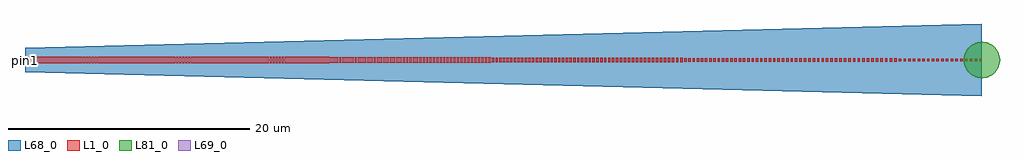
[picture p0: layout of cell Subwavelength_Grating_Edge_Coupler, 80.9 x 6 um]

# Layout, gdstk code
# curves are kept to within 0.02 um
import gdstk
lib = gdstk.Library(unit=1e-6, precision=1e-09)
def R(c, l, rs):  # rectangles x0, y0, x1, y1
    for r in rs: c.add(gdstk.rectangle(r[:2], r[2:], *l))
def A(c, l, x, y, w, h, nx, ny, dx, dy):  # array of equal rectangles
    R(c, l, [(x+i*dx, y+j*dy, x+i*dx+w, y+j*dy+h) for i in range(nx) for j in range(ny)])
def P(c, l, *ps):  # polygons
    for p in ps: c.add(gdstk.Polygon(p, *l))
L1_0 = (1, 0)
L68_0 = (68, 0)
L69_0 = (69, 0)
L81_0 = (81, 0)

opticalfibre_3micron = lib.new_cell('OpticalFibre_3micron')
P(opticalfibre_3micron, L81_0, [(-0.074,-1.5),(-0.365,-1.457),(-0.642,-1.358),(-0.895,-1.206),(-1.113,-1.009),(-1.288,-0.772),(-1.414,-0.506),(-1.486,-0.22),(-1.5,0.074),(-1.457,0.365),(-1.358,0.642),(-1.206,0.895),(-1.009,1.113),(-0.772,1.288),(-0.506,1.414),(-0.22,1.486),(0.074,1.5),(0.365,1.457),(0.642,1.358),(0.895,1.206),(1.113,1.009),(1.288,0.772),(1.414,0.506),(1.486,0.22),(1.5,-0.074),(1.457,-0.365),(1.358,-0.642),(1.206,-0.895),(1.009,-1.113),(0.772,-1.288),(0.506,-1.414),(0.22,-1.486)])

c_ec = lib.new_cell('EC')
A(c_ec, L1_0, -79.3, -0.25, 0.2, 0.5, 100, 1, 0.25, 0)
R(c_ec, L1_0, [(-79.3,-0.25,-79.05,0.25), (-54.299,-0.249,-54.099,0.249), (-79.05,-0.248,-78.8,0.248), (-54.047,-0.248,-53.847,0.248), (-53.795,-0.247,-53.595,0.247), (-53.541,-0.247,-53.341,0.247), (-78.8,-0.246,-78.55,0.246), (-53.286,-0.246,-53.087,0.246), (-53.031,-0.245,-52.831,0.245), (-78.55,-0.244,-78.3,0.244), (-52.775,-0.244,-52.575,0.244), (-52.518,-0.243,-52.318,0.243), (-78.3,-0.242,-78.05,0.242), (-52.259,-0.242,-52.06,0.242), (-52,-0.242,-51.801,0.242), (-51.741,-0.241,-51.541,0.241), (-78.05,-0.24,-77.8,0.24), (-51.48,-0.24,-51.28,0.24), (-51.218,-0.239,-51.018,0.239), (-50.956,-0.238,-50.756,0.238), (-77.8,-0.237,-77.55,0.237), (-50.692,-0.237,-50.492,0.237), (-50.428,-0.237,-50.228,0.237), (-50.162,-0.236,-49.963,0.236), (-77.55,-0.235,-77.3,0.235), (-49.896,-0.235,-49.696,0.235), (-49.629,-0.234,-49.429,0.234), (-77.3,-0.233,-77.05,0.233), (-49.361,-0.233,-49.161,0.233), (-49.092,-0.232,-48.893,0.232), (-48.822,-0.232,-48.623,0.232), (-77.05,-0.231,-76.8,0.231), (-48.552,-0.231,-48.352,0.231), (-48.28,-0.23,-48.081,0.23), (-76.8,-0.229,-76.55,0.229), (-48.008,-0.229,-47.808,0.229), (-47.734,-0.228,-47.535,0.228), (-76.55,-0.227,-76.3,0.227), (-47.46,-0.227,-47.26,0.227), (-47.185,-0.227,-46.985,0.227), (-46.909,-0.226,-46.709,0.226), (-76.3,-0.225,-76.05,0.225), (-46.632,-0.225,-46.432,0.225), (-46.354,-0.224,-46.154,0.224), (-76.05,-0.223,-75.8,0.223), (-46.075,-0.223,-45.876,0.223), (-45.796,-0.222,-45.596,0.222), (-75.8,-0.221,-75.55,0.221), (-45.515,-0.221,-45.316,0.221), (-45.234,-0.221,-45.034,0.221), (-44.951,-0.22,-44.752,0.22), (-75.55,-0.219,-75.3,0.219), (-44.668,-0.219,-44.469,0.219), (-44.384,-0.218,-44.184,0.218), (-44.099,-0.217,-43.899,0.217), (-75.3,-0.216,-75.05,0.216), (-43.813,-0.216,-43.613,0.216), (-43.526,-0.216,-43.327,0.216), (-43.238,-0.215,-43.039,0.215), (-75.05,-0.214,-74.8,0.214), (-42.95,-0.214,-42.75,0.214), (-42.66,-0.213,-42.461,0.213), (-74.8,-0.212,-74.55,0.212), (-42.37,-0.212,-42.17,0.212), (-42.078,-0.211,-41.879,0.211), (-41.786,-0.211,-41.587,0.211), (-74.55,-0.21,-74.3,0.21), (-41.493,-0.21,-41.294,0.21), (-41.199,-0.209,-41,0.209), (-74.3,-0.208,-74.05,0.208), (-40.904,-0.208,-40.705,0.208), (-40.608,-0.207,-40.409,0.207), (-74.05,-0.206,-73.8,0.206), (-40.312,-0.206,-40.112,0.206), (-40.014,-0.206,-39.815,0.206), (-39.716,-0.205,-39.516,0.205), (-73.8,-0.204,-73.55,0.204), (-39.416,-0.204,-39.217,0.204), (-39.116,-0.203,-38.916,0.203), (-73.55,-0.202,-73.3,0.202), (-38.815,-0.202,-38.615,0.202), (-38.512,-0.201,-38.313,0.201), (-38.209,-0.201,-38.01,0.201), (-73.3,-0.2,-73.05,0.2), (-37.906,-0.2,-37.706,0.2), (-37.601,-0.199,-37.401,0.199), (-73.05,-0.198,-72.8,0.198), (-37.295,-0.198,-37.096,0.198), (-36.988,-0.197,-36.789,0.197), (-36.681,-0.196,-36.482,0.196), (-36.373,-0.196,-36.173,0.196), (-72.8,-0.195,-72.55,0.195), (-36.063,-0.195,-35.864,0.195), (-35.753,-0.194,-35.554,0.194), (-72.55,-0.193,-72.3,0.193), (-35.442,-0.193,-35.243,0.193), (-35.13,-0.192,-34.931,0.192), (-72.3,-0.191,-72.05,0.191), (-34.817,-0.191,-34.618,0.191), (-34.503,-0.19,-34.304,0.19), (-34.189,-0.19,-33.99,0.19), (-72.05,-0.189,-71.8,0.189), (-33.873,-0.189,-33.674,0.189), (-33.557,-0.188,-33.357,0.188), (-71.8,-0.187,-71.55,0.187), (-33.239,-0.187,-33.04,0.187), (-32.921,-0.186,-32.722,0.186), (-71.55,-0.185,-71.3,0.185), (-32.602,-0.185,-32.403,0.185), (-32.282,-0.185,-32.083,0.185), (-31.961,-0.184,-31.762,0.184), (-71.3,-0.183,-71.05,0.183), (-31.639,-0.183,-31.44,0.183), (-31.316,-0.182,-31.117,0.182), (-71.05,-0.181,-70.8,0.181), (-30.992,-0.181,-30.793,0.181), (-30.668,-0.18,-30.469,0.18), (-30.342,-0.18,-30.143,0.18), (-70.8,-0.179,-70.55,0.179), (-30.016,-0.179,-29.817,0.179), (-29.689,-0.178,-29.49,0.178), (-70.55,-0.177,-70.3,0.177), (-29.361,-0.177,-29.162,0.177), (-29.032,-0.176,-28.833,0.176), (-28.702,-0.175,-28.503,0.175), (-28.371,-0.175,-28.172,0.175), (-70.3,-0.174,-70.05,0.174), (-28.039,-0.174,-27.84,0.174), (-27.706,-0.173,-27.507,0.173), (-70.05,-0.172,-69.8,0.172), (-27.373,-0.172,-27.174,0.172), (-27.038,-0.171,-26.84,0.171), (-69.8,-0.17,-69.55,0.17), (-26.703,-0.17,-26.504,0.17), (-26.367,-0.17,-26.168,0.17), (-26.03,-0.169,-25.831,0.169), (-69.55,-0.168,-69.3,0.168), (-25.692,-0.168,-25.493,0.168), (-25.353,-0.167,-25.154,0.167), (-69.3,-0.166,-69.05,0.166), (-25.013,-0.166,-24.814,0.166), (-24.672,-0.165,-24.473,0.165), (-69.05,-0.164,-68.8,0.164), (-24.331,-0.164,-24.132,0.164), (-23.988,-0.164,-23.789,0.164), (-23.645,-0.163,-23.446,0.163), (-68.8,-0.162,-68.55,0.162), (-23.3,-0.162,-23.101,0.162), (-22.955,-0.161,-22.756,0.161), (-68.55,-0.16,-68.3,0.16), (-22.609,-0.16,-22.41,0.16), (-22.262,-0.159,-22.063,0.159), (-21.914,-0.159,-21.715,0.159), (-68.3,-0.158,-68.05,0.158), (-21.565,-0.158,-21.366,0.158), (-21.215,-0.157,-21.017,0.157), (-68.05,-0.156,-67.8,0.156), (-20.865,-0.156,-20.666,0.156), (-20.513,-0.155,-20.315,0.155), (-20.161,-0.154,-19.962,0.154), (-19.808,-0.154,-19.609,0.154), (-67.8,-0.153,-67.55,0.153), (-19.453,-0.153,-19.255,0.153), (-19.098,-0.152,-18.9,0.152), (-67.55,-0.151,-67.3,0.151), (-18.742,-0.151,-18.544,0.151), (-18.385,-0.15,-18.187,0.15), (-67.3,-0.149,-67.05,0.149), (-18.028,-0.149,-17.829,0.149), (-17.669,-0.149,-17.47,0.149), (-17.309,-0.148,-17.111,0.148), (-67.05,-0.147,-66.8,0.147), (-16.949,-0.147,-16.75,0.147), (-16.587,-0.146,-16.389,0.146), (-66.8,-0.145,-66.55,0.145), (-16.225,-0.145,-16.027,0.145), (-15.862,-0.144,-15.663,0.144), (-15.498,-0.144,-15.299,0.144), (-66.55,-0.143,-66.3,0.143), (-15.133,-0.143,-14.934,0.143), (-14.767,-0.142,-14.569,0.142), (-66.3,-0.141,-66.05,0.141), (-14.4,-0.141,-14.202,0.141), (-14.033,-0.14,-13.834,0.14), (-66.05,-0.139,-65.8,0.139), (-13.664,-0.139,-13.466,0.139), (-13.295,-0.139,-13.096,0.139), (-12.924,-0.138,-12.726,0.138), (-65.8,-0.137,-65.55,0.137), (-12.553,-0.137,-12.354,0.137), (-12.181,-0.136,-11.982,0.136), (-65.55,-0.135,-65.3,0.135), (-11.808,-0.135,-11.609,0.135), (-11.434,-0.134,-11.235,0.134), (-11.059,-0.133,-10.86,0.133), (-10.683,-0.133,-10.485,0.133), (-65.3,-0.132,-65.05,0.132), (-10.306,-0.132,-10.108,0.132), (-9.929,-0.131,-9.731,0.131), (-65.05,-0.13,-64.8,0.13), (-9.55,-0.13,-9.352,0.13), (-9.171,-0.129,-8.973,0.129), (-64.8,-0.128,-64.55,0.128), (-8.791,-0.128,-8.593,0.128), (-8.41,-0.128,-8.211,0.128), (-8.028,-0.127,-7.829,0.127), (-64.55,-0.126,-64.3,0.126), (-7.645,-0.126,-7.446,0.126), (-7.261,-0.125,-7.063,0.125), (-64.3,-0.124,-64.05,0.124), (-6.876,-0.124,-6.678,0.124), (-6.49,-0.123,-6.292,0.123), (-6.104,-0.123,-5.906,0.123), (-64.05,-0.122,-63.8,0.122), (-5.716,-0.122,-5.518,0.122), (-5.328,-0.121,-5.13,0.121), (-63.8,-0.12,-63.55,0.12), (-4.939,-0.12,-4.741,0.12), (-4.549,-0.119,-4.351,0.119), (-63.55,-0.118,-63.3,0.118), (-4.158,-0.118,-3.96,0.118), (-3.766,-0.118,-3.568,0.118), (-3.373,-0.117,-3.175,0.117), (-63.3,-0.116,-63.05,0.116), (-2.979,-0.116,-2.781,0.116), (-2.585,-0.115,-2.387,0.115), (-63.05,-0.114,-62.8,0.114), (-2.189,-0.114,-1.991,0.114), (-1.793,-0.113,-1.595,0.113), (-1.395,-0.113,-1.197,0.113), (-0.997,-0.112,-0.799,0.112), (-62.8,-0.111,-62.55,0.111), (-0.598,-0.111,-0.4,0.111), (-0.198,-0.11,0,0.11), (-62.55,-0.109,-62.3,0.109), (-62.3,-0.107,-62.05,0.107), (-62.05,-0.105,-61.8,0.105), (-61.8,-0.103,-61.55,0.103), (-61.55,-0.101,-61.3,0.101), (-61.3,-0.099,-61.05,0.099), (-61.05,-0.097,-60.8,0.097), (-60.8,-0.095,-60.55,0.095), (-60.55,-0.093,-60.3,0.093), (-60.3,-0.09,-60.05,0.09), (-60.05,-0.088,-59.8,0.088), (-59.8,-0.086,-59.55,0.086), (-59.55,-0.084,-59.3,0.084), (-59.3,-0.082,-59.05,0.082), (-59.05,-0.08,-58.8,0.08), (-58.8,-0.078,-58.55,0.078), (-58.55,-0.076,-58.3,0.076), (-58.3,-0.074,-58.05,0.074), (-58.05,-0.071,-57.8,0.071), (-57.8,-0.069,-57.55,0.069), (-57.55,-0.067,-57.3,0.067), (-57.3,-0.065,-57.05,0.065), (-57.05,-0.063,-56.8,0.063), (-56.8,-0.061,-56.55,0.061), (-56.55,-0.059,-56.3,0.059), (-56.3,-0.057,-56.05,0.057), (-56.05,-0.055,-55.8,0.055), (-55.8,-0.053,-55.55,0.053), (-55.55,-0.05,-55.3,0.05), (-55.3,-0.048,-55.05,0.048), (-55.05,-0.046,-54.8,0.046), (-54.8,-0.044,-54.55,0.044), (-54.55,-0.042,-54.3,0.042)])

subwavelength_grating_ed = lib.new_cell('Subwavelength_Grating_Edge_Coupler')
P(subwavelength_grating_ed, L68_0, [(0,-3),(-79.3,-1),(-79.3,1),(0,3)])
subwavelength_grating_ed.add(gdstk.FlexPath([(-79.2,0),(-79.4,0)], 0.5, ends="flush", simple_path=True, layer=69, datatype=0))  # L69_0
subwavelength_grating_ed.add(gdstk.Reference(opticalfibre_3micron, (0,0)))
subwavelength_grating_ed.add(gdstk.Reference(c_ec, (0,0)))
subwavelength_grating_ed.add(gdstk.Label('pin1', (-79.3,0), layer=69, texttype=0))

lib.write_gds('Subwavelength_Grating_Edge_Coupler.gds')
